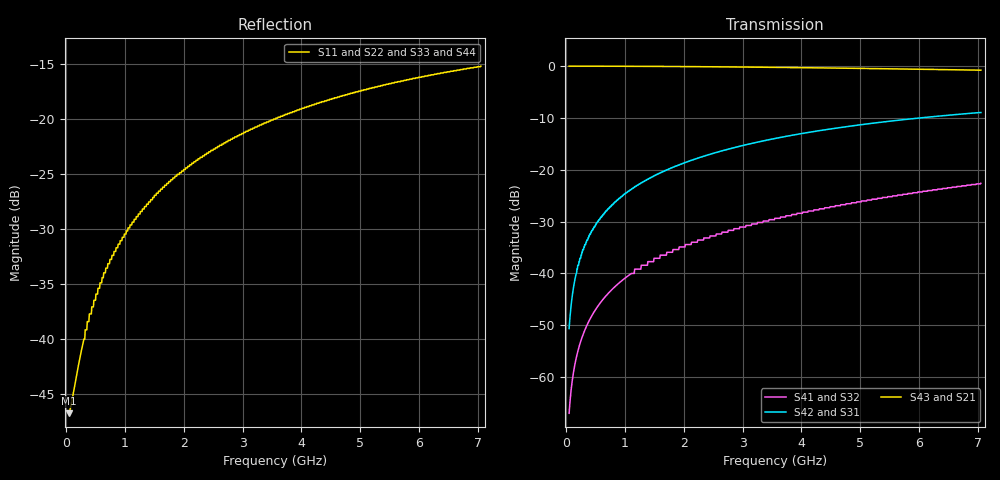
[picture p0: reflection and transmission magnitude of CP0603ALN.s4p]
# MHZ S MA R 50
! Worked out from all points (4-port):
!   1000 points, 50 MHz to 7.05 GHz, reference 50 ohm
!   strongest paths, dB at 50 MHz, 1.802 GHz, 3.554 GHz, 5.305 GHz, 7.05 GHz:
!     S43: 0.0, -0.1, -0.3, -0.5, -0.8
!     S21: 0.0, -0.1, -0.3, -0.5, -0.8
!     S42: -50.6, -19.6, -14.0, -10.9, -9.0
!     S31: -50.6, -19.6, -14.0, -10.9, -9.0
!     S41: -67.0, -35.9, -29.4, -25.5, -22.6
!     S32: -67.0, -35.9, -29.4, -25.5, -22.6
!   lowest |S11| = -46.8 dB at 50 MHz (marker M1), VSWR 1.01, Z = 50.4 + j0.148 ohm
!   |S11| at or under -10 dB: start of sweep to end of sweep
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50  0.004593 18.7  0.996 -0.2  0.002939 89.8  0.0004483 -90.8
    0.996 -0.2  0.004593 18.7  0.0004483 -90.8  0.002939 89.8
    0.002939 89.8  0.0004483 -90.8  0.004593 18.7  0.996 -0.2
    0.0004483 -90.8  0.002939 89.8  0.996 -0.2  0.004593 18.7
197.147  0.00731 52.4  0.996 -0.9  0.012 89.0  0.001768 -93.1
         0.996 -0.9  0.00731 52.4  0.001768 -93.1  0.012 89.0
         0.012 89.0  0.001768 -93.1  0.00731 52.4  0.996 -0.9
         0.001768 -93.1  0.012 89.0  0.996 -0.9  0.00731 52.4
435.385  0.014 69.1  0.995 -2.0  0.026 87.9  0.003907 -96.8
         0.995 -2.0  0.014 69.1  0.003907 -96.8  0.026 87.9
         0.026 87.9  0.003907 -96.8  0.014 69.1  0.995 -2.0
         0.003907 -96.8  0.026 87.9  0.995 -2.0  0.014 69.1
862.813  0.026 75.6  0.994 -3.9  0.051 85.9  0.007764 -103.5
         0.994 -3.9  0.026 75.6  0.007764 -103.5  0.051 85.9
         0.051 85.9  0.007764 -103.5  0.026 75.6  0.994 -3.9
         0.007764 -103.5  0.051 85.9  0.994 -3.9  0.026 75.6
1507.457  0.045 76.1  0.991 -6.8  0.088 82.8  0.014 -113.4
          0.991 -6.8  0.045 76.1  0.014 -113.4  0.088 82.8
          0.088 82.8  0.014 -113.4  0.045 76.1  0.991 -6.8
          0.014 -113.4  0.088 82.8  0.991 -6.8  0.045 76.1
3658.609  0.103 68.0  0.968 -16.3  0.206 72.9  0.035 -144.6
          0.968 -16.3  0.103 68.0  0.035 -144.6  0.206 72.9
          0.206 72.9  0.035 -144.6  0.103 68.0  0.968 -16.3
          0.035 -144.6  0.206 72.9  0.968 -16.3  0.103 68.0
7050  0.174 54.6  0.911 -29.9  0.356 59.1  0.074 174.7
      0.911 -29.9  0.174 54.6  0.074 174.7  0.356 59.1
      0.356 59.1  0.074 174.7  0.174 54.6  0.911 -29.9
      0.074 174.7  0.356 59.1  0.911 -29.9  0.174 54.6
